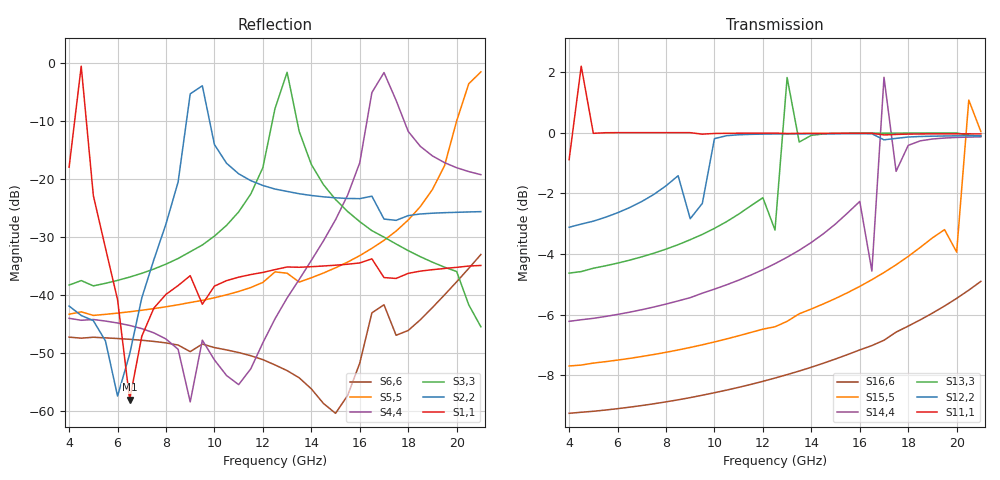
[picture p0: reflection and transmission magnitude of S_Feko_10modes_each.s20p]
! S-parameter export from POSTFEKO
! Filename: circular_2wg_10modes
! Creation date: 2020-01-01 12:27:24
# Hz S MA R  5.0000000E+01
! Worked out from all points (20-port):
!   35 points, 4 GHz to 21 GHz, reference 50 ohm
!   strongest paths, dB at 4 GHz, 8 GHz, 12.5 GHz, 17 GHz, 21 GHz:
!     S11,1: -0.9, 0.0, 0.0, -0.1, 0.0
!     S12,2: -3.1, -1.8, 0.0, -0.2, -0.1
!     S13,3: -4.6, -3.8, -3.2, 0.0, -0.1
!     S14,4: -6.2, -5.7, -4.3, 1.8, -0.1
!     S15,5: -7.7, -7.2, -6.4, -4.6, 0.0
!     S16,6: -9.3, -8.9, -8.1, -6.8, -4.9
!   lowest |S11| = -58.1 dB at 6.5 GHz (marker M1), VSWR 1.00, Z = 50 + j0.12 ohm
!   |S11| at or under -10 dB: start of sweep to 4.227 GHz; 4.713 GHz to end of sweep
